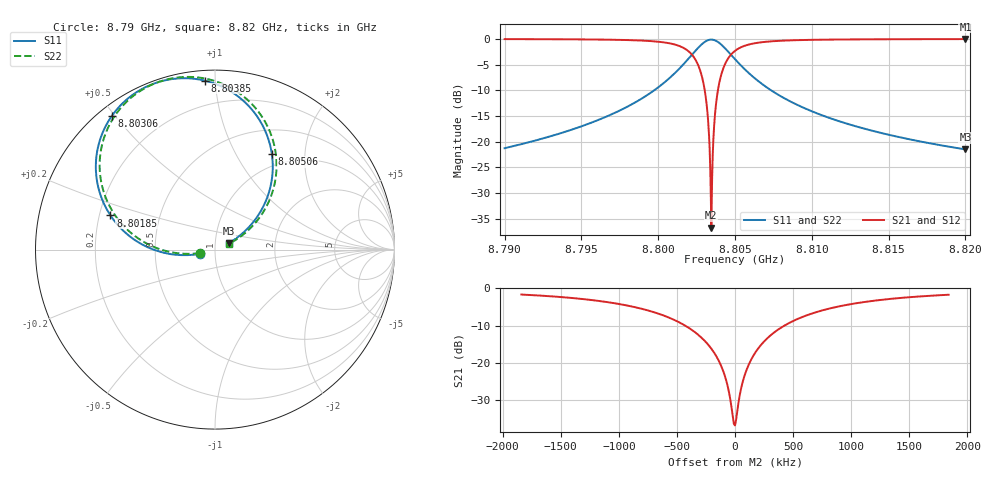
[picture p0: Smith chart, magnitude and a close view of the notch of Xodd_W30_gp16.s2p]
! Sonnet Data File
! From: emgraph Version : 16.52
! From Project: Qubit_Xmon2
! Data is De-embedded
! Data File Written: 10/18/2017 13:35:04
!< HDATE 10/18/2017 12:09:35
!< MDATE 10/18/2017 12:09:35
!< PARAMS
!< Lj = 11.0
!< Gap = 16.0
!< Pwid = 2000.0
!< Airgap = 18.0
!< Width = 30.0
!< END PARAMS
# GHZ S MA R 41.17000
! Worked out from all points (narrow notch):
!   3001 points, 8.79 GHz to 8.82 GHz, reference 41.17 ohm
!   highest |S21| = -0.03 dB at 8.82 GHz (marker M1); lowest = -36.8 dB at 8.80346 GHz (marker M2)
!   notch at M2: 36.6 dB deep, 308 kHz wide at half that depth
!   lowest |S11| = -21.5 dB at 8.82 GHz (marker M3), VSWR 1.18, Z = 47.8 + j3.43 ohm
!   |S11| at or under -10 dB: start of sweep to 8.799742 GHz; 8.807347 GHz to end of sweep
!   |S22| runs from -21.5 to -0.1 dB; largest |S21 - S12| = 0
!   S11 on the Smith chart (normalised r, x): 8.79 GHz: 0.85, -0.04; 8.80185 GHz: 0.25, +0.15; 8.80306 GHz: 0.04, +0.49; 8.80385 GHz: 0.06, +0.94; 8.80506 GHz: 0.82, +1.42; 8.82 GHz: 1.16, +0.08
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8.79  0.08626 -164.6  0.9961 -75.8  0.9961 -75.8  0.08626 -167.2
!< P1 F=8.79 Eeff=(4.89767601 -6.0965e-5) Z0=(41.1732234 -1.5591e-4) R=0.0 C=0.0
!< P2 F=8.79 Eeff=(4.89767601 -6.0965e-5) Z0=(41.1732234 -1.5591e-4) R=0.0 C=0.0
8.795  0.1409 -167.8  0.9897 -79.0  0.9897 -79.0  0.1409 -170.5
8.79798  0.2184 -172.4  0.9751 -83.5  0.9751 -83.5  0.2184 -175.1
8.8  0.3376 -179.7  0.9394 -90.7  0.9394 -90.7  0.3376 177.7
8.80109  0.4656 172.2  0.8813 -98.7  0.8813 -98.7  0.4656 169.5
8.80185  0.6125 161.9  0.7834 -108.7  0.7834 -108.7  0.6125 159.3
8.8026  0.8191 144.1  0.5562 -125.9  0.5562 -125.9  0.8191 141.5
8.80306  0.9416 127.5  0.2956 -141.1  0.2956 -141.1  0.9416 124.9
8.80322  0.9693 120.8  0.1819 -146.1  0.1819 -146.1  0.9693 118.2
8.80337  0.9834 114.2  0.06896 -145.1  0.06896 -145.1  0.9834 111.6
8.80346  0.9856 110.2  0.01454 -61.8  0.01454 -61.8  0.9856 107.6
8.80355  0.9831 106.2  0.07343 3.7  0.07343 3.7  0.9831 103.6
8.80369  0.97 100.1  0.1784 4.3  0.1784 4.3  0.97 97.5
8.80385  0.9429 93.4  0.2917 -0.6  0.2917 -0.6  0.9429 90.8
8.80429  0.8288 77.5  0.5415 -15.0  0.5415 -15.0  0.8288 74.9
8.805  0.6349 60.4  0.7651 -31.6  0.7651 -31.6  0.6349 57.8
8.80506  0.6208 59.3  0.7769 -32.6  0.7769 -32.6  0.6208 56.7
8.80583  0.4752 49.1  0.8762 -42.6  0.8762 -42.6  0.4752 46.5
8.8068  0.3604 41.7  0.9308 -49.9  0.9308 -49.9  0.3604 39.1
8.81  0.1975 31.8  0.9798 -59.6  0.9798 -59.6  0.1975 29.2
8.815  0.1167 27.0  0.993 -64.4  0.993 -64.4  0.1167 24.4
8.82  0.08401 25.1  0.9964 -66.3  0.9964 -66.3  0.08401 22.5
